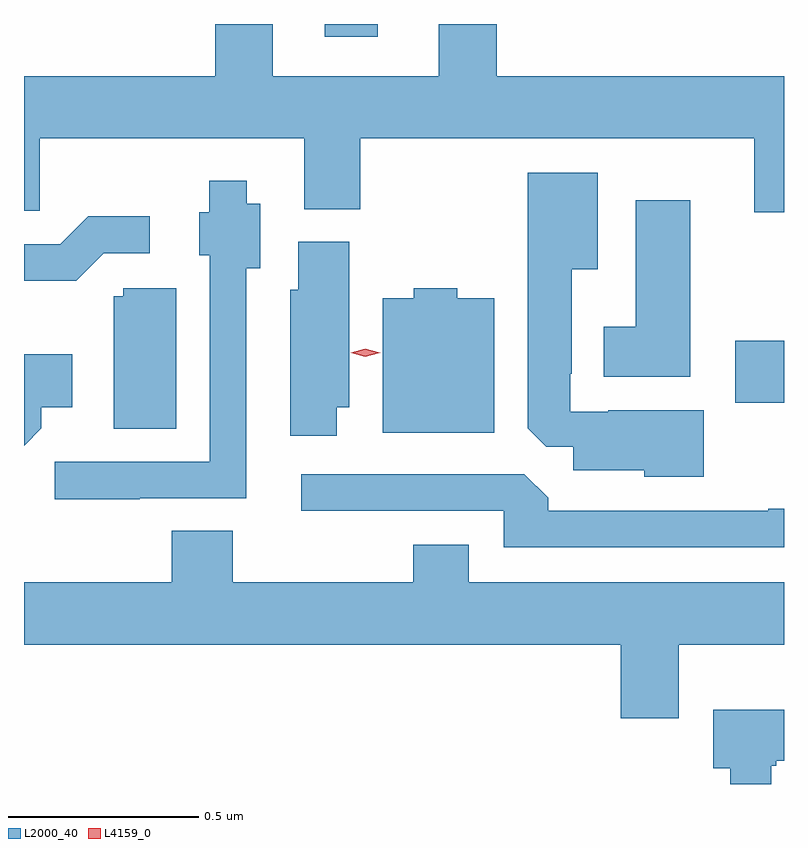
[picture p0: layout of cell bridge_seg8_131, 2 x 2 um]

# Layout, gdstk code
import gdstk
lib = gdstk.Library(unit=1e-6, precision=1e-09)
def R(c, l, rs):  # rectangles x0, y0, x1, y1
    for r in rs: c.add(gdstk.rectangle(r[:2], r[2:], *l))
def P(c, l, *ps):  # polygons
    for p in ps: c.add(gdstk.Polygon(p, *l))
L2000_40 = (2000, 40)
L4159_0 = (4159, 0)

bridge_seg8_131 = lib.new_cell('bridge_seg8_131')
R(bridge_seg8_131, L2000_40, [(631.824,1158.428,631.952,1158.591), (630.743,1159.392,630.883,1159.425)])
P(bridge_seg8_131, L2000_40, [(631.952,1159.288),(631.196,1159.288),(631.196,1159.425),(631.043,1159.425),(631.043,1159.288),(630.607,1159.288),(630.607,1159.425),(630.455,1159.425),(630.455,1159.288),(629.952,1159.288),(629.952,1158.934),(629.994,1158.934),(629.994,1159.124),(630.689,1159.124),(630.689,1158.937),(630.837,1158.937),(630.837,1159.124),(631.874,1159.124),(631.874,1158.93),(631.952,1158.93)],
  [(631.741,1158.409),(631.489,1158.409),(631.489,1158.405),(631.389,1158.405),(631.389,1158.505),(631.393,1158.505),(631.393,1158.779),(631.462,1158.779),(631.462,1159.033),(631.277,1159.033),(631.277,1158.361),(631.326,1158.312),(631.397,1158.312),(631.397,1158.251),(631.584,1158.251),(631.584,1158.233),(631.741,1158.233)],
  [(630.257,1158.177),(630.537,1158.177),(630.537,1158.782),(630.574,1158.782),(630.574,1158.952),(630.538,1158.952),(630.538,1159.012),(630.44,1159.012),(630.44,1158.93),(630.413,1158.93),(630.413,1158.816),(630.441,1158.816),(630.441,1158.273),(630.033,1158.273),(630.033,1158.175),(630.257,1158.175)],
  [(631.705,1158.961),(631.562,1158.961),(631.562,1158.628),(631.478,1158.628),(631.478,1158.497),(631.705,1158.497)],
  [(630.162,1158.822),(630.283,1158.822),(630.283,1158.919),(630.121,1158.919),(630.048,1158.846),(629.952,1158.846),(629.952,1158.75),(629.99,1158.75),(629.99,1158.749),(630.089,1158.749)],
  [(630.775,1158.416),(630.808,1158.416),(630.808,1158.852),(630.674,1158.852),(630.674,1158.726),(630.653,1158.726),(630.653,1158.342),(630.775,1158.342)],
  [(631.189,1158.703),(631.092,1158.703),(631.092,1158.73),(630.978,1158.73),(630.978,1158.703),(630.896,1158.703),(630.896,1158.35),(631.189,1158.35)],
  [(630.352,1158.729),(630.213,1158.729),(630.213,1158.708),(630.188,1158.708),(630.188,1158.36),(630.352,1158.36)],
  [(629.998,1158.361),(629.998,1158.416),(630.079,1158.416),(630.079,1158.556),(629.952,1158.556),(629.952,1158.315)],
  [(631.952,1158.149),(631.91,1158.149),(631.91,1158.144),(631.331,1158.144),(631.331,1158.178),(631.269,1158.24),(630.681,1158.24),(630.681,1158.144),(631.215,1158.144),(631.215,1158.048),(631.952,1158.048)],
  [(631.675,1157.792),(631.952,1157.792),(631.952,1157.956),(631.123,1157.956),(631.123,1158.055),(630.976,1158.055),(630.976,1157.956),(630.501,1157.956),(630.501,1158.092),(630.341,1158.092),(630.341,1157.956),(629.952,1157.956),(629.952,1157.792),(631.523,1157.792),(631.523,1157.598),(631.675,1157.598)],
  [(631.918,1157.473),(631.932,1157.473),(631.932,1157.486),(631.952,1157.486),(631.952,1157.62),(631.766,1157.62),(631.766,1157.466),(631.811,1157.466),(631.811,1157.425),(631.918,1157.425)])
P(bridge_seg8_131, L4159_0, [(630.85,1158.55),(630.812,1158.56),(630.812,1158.56),(630.812,1158.56),(630.85,1158.57),(630.889,1158.56),(630.889,1158.56),(630.889,1158.56)])

lib.write_gds('bridge_seg8_131.gds')
